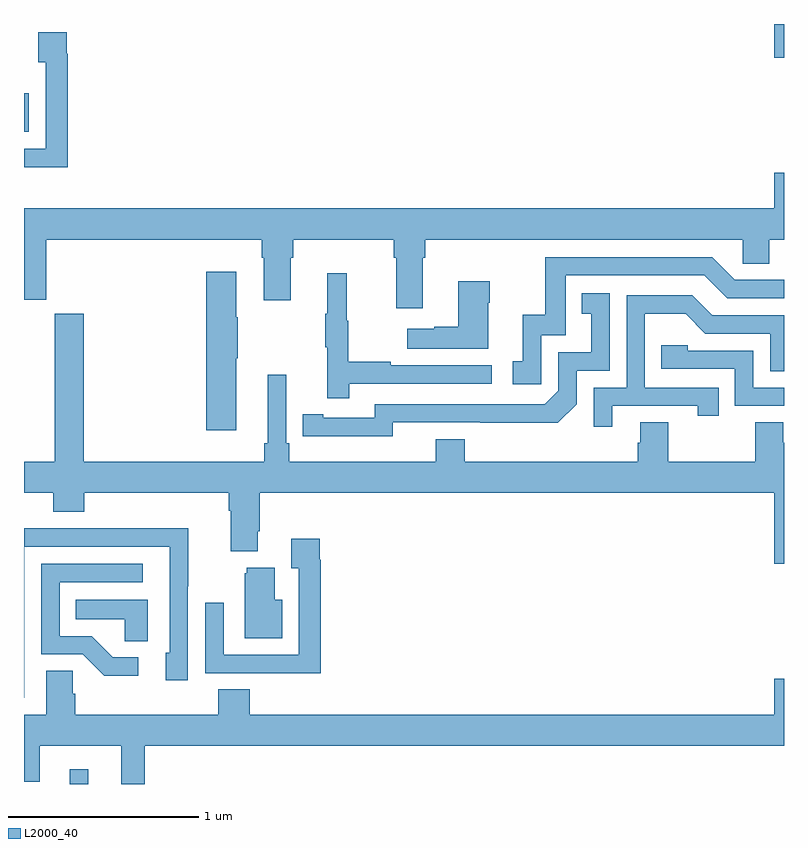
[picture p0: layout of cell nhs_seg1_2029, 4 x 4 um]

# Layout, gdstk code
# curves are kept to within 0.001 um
import gdstk
lib = gdstk.Library(unit=1e-6, precision=1e-09)
def R(c, l, rs):  # rectangles x0, y0, x1, y1
    for r in rs: c.add(gdstk.rectangle(r[:2], r[2:], *l))
def P(c, l, *ps):  # polygons
    for p in ps: c.add(gdstk.Polygon(p, *l))
L2000_40 = (2000, 40)

nhs_seg1_2029 = lib.new_cell('nhs_seg1_2029')
R(nhs_seg1_2029, L2000_40, [(221.24,550.199,221.338,550.276), (221,553.631,221.026,553.834), (224.948,554.022,225,554.199)])
P(nhs_seg1_2029, L2000_40, [(221.231,554.042),(221.224,554.042),(221.224,554.155),(221.075,554.155),(221.075,553.999),(221.115,553.999),(221.115,553.542),(221,553.542),(221,553.445),(221.231,553.445)],
  [(223.099,552.968),(223.112,552.968),(223.112,553.064),(224.784,553.064),(224.784,552.937),(224.923,552.937),(224.923,553.064),(225,553.064),(225,553.417),(224.948,553.417),(224.948,553.228),(221,553.228),(221,552.747),(221.116,552.747),(221.116,553.064),(222.251,553.064),(222.251,552.968),(222.263,552.968),(222.263,552.744),(222.403,552.744),(222.403,552.968),(222.416,552.968),(222.416,553.064),(222.947,553.064),(222.947,552.968),(222.959,552.968),(222.959,552.702),(223.099,552.702)],
  [(223.722,552.561),(223.851,552.561),(223.851,552.876),(224.58,552.876),(224.7,552.756),(225,552.756),(225,552.852),(224.742,552.852),(224.622,552.972),(223.743,552.972),(223.743,552.67),(223.625,552.67),(223.625,552.423),(223.572,552.423),(223.572,552.303),(223.722,552.303)],
  [(222.118,552.439),(222.126,552.439),(222.126,552.656),(222.118,552.656),(222.118,552.895),(221.96,552.895),(221.96,552.06),(222.118,552.06)],
  [(222.713,552.306),(223.462,552.306),(223.462,552.402),(222.929,552.402),(222.929,552.422),(222.706,552.422),(222.706,552.636),(222.698,552.636),(222.698,552.886),(222.596,552.886),(222.596,552.673),(222.585,552.673),(222.585,552.499),(222.596,552.499),(222.596,552.228),(222.713,552.228)],
  [(223.444,552.731),(223.452,552.731),(223.452,552.844),(223.286,552.844),(223.286,552.605),(223.16,552.605),(223.16,552.595),(223.017,552.595),(223.017,552.491),(223.444,552.491)],
  [(222.942,552.102),(223.81,552.101),(223.908,552.198),(223.908,552.375),(224.082,552.375),(224.082,552.781),(223.936,552.781),(223.936,552.675),(223.985,552.675),(223.985,552.471),(223.812,552.471),(223.812,552.27),(223.74,552.198),(222.846,552.198),(222.846,552.126),(222.574,552.126),(222.574,552.146),(222.466,552.146),(222.466,552.03),(222.942,552.029)],
  [(224.095,552.189),(224.546,552.189),(224.546,552.138),(224.657,552.138),(224.657,552.285),(224.268,552.285),(224.268,552.674),(224.482,552.674),(224.586,552.57),(224.928,552.57),(224.928,552.372),(225,552.372),(225,552.666),(224.623,552.666),(224.518,552.771),(224.172,552.771),(224.172,552.285),(223.998,552.285),(223.998,552.078),(224.095,552.078)],
  [(225,551.994),(224.995,551.994),(224.995,552.104),(224.848,552.104),(224.848,551.896),(224.391,551.896),(224.391,552.104),(224.243,552.104),(224.243,551.994),(224.231,551.994),(224.231,551.896),(223.319,551.896),(223.319,552.013),(223.166,552.013),(223.166,551.896),(222.395,551.896),(222.395,551.992),(222.381,551.992),(222.381,552.352),(222.284,552.352),(222.284,551.992),(222.265,551.992),(222.265,551.896),(221.315,551.896),(221.315,552.675),(221.162,552.675),(221.162,551.896),(221,551.896),(221,551.732),(221.153,551.732),(221.153,551.633),(221.318,551.633),(221.318,551.732),(222.077,551.732),(222.077,551.636),(222.089,551.636),(222.089,551.423),(222.229,551.423),(222.229,551.53),(222.242,551.53),(222.242,551.732),(224.948,551.732),(224.948,551.358),(225,551.358)],
  [(225,552.285),(224.838,552.285),(224.838,552.48),(224.493,552.48),(224.493,552.507),(224.353,552.507),(224.353,552.384),(224.742,552.384),(224.742,552.189),(225,552.189)],
  [(221.001,551.448),(221.766,551.448),(221.766,550.89),(221.747,550.89),(221.747,550.746),(221.862,550.746),(221.862,551.239),(221.865,551.239),(221.865,551.546),(221.401,551.546),(221.401,551.544),(221,551.544),(221,550.653),(221.001,550.653)],
  [(222.563,551.378),(222.556,551.378),(222.556,551.491),(222.407,551.491),(222.407,551.335),(222.447,551.335),(222.447,550.878),(222.051,550.878),(222.051,551.152),(221.955,551.152),(221.955,550.782),(222.271,550.782),(222.271,550.781),(222.563,550.781)],
  [(221.602,550.866),(221.467,550.866),(221.356,550.977),(221.187,550.977),(221.187,551.262),(221.626,551.262),(221.626,551.358),(221.091,551.358),(221.091,550.881),(221.31,550.881),(221.423,550.769),(221.602,550.769)],
  [(222.358,551.17),(222.319,551.17),(222.319,551.338),(222.173,551.338),(222.173,551.307),(222.161,551.307),(222.161,550.967),(222.358,550.967)],
  [(221.65,551.17),(221.272,551.17),(221.272,551.066),(221.529,551.066),(221.529,550.951),(221.65,550.951)],
  [(221.635,550.4),(225,550.4),(225,550.753),(224.948,550.753),(224.948,550.564),(222.188,550.564),(222.188,550.697),(222.023,550.697),(222.023,550.564),(221.27,550.564),(221.27,550.673),(221.256,550.673),(221.256,550.796),(221.117,550.796),(221.117,550.564),(221,550.564),(221,550.21),(221.083,550.21),(221.083,550.4),(221.513,550.4),(221.513,550.199),(221.635,550.199)])

lib.write_gds('nhs_seg1_2029.gds')
